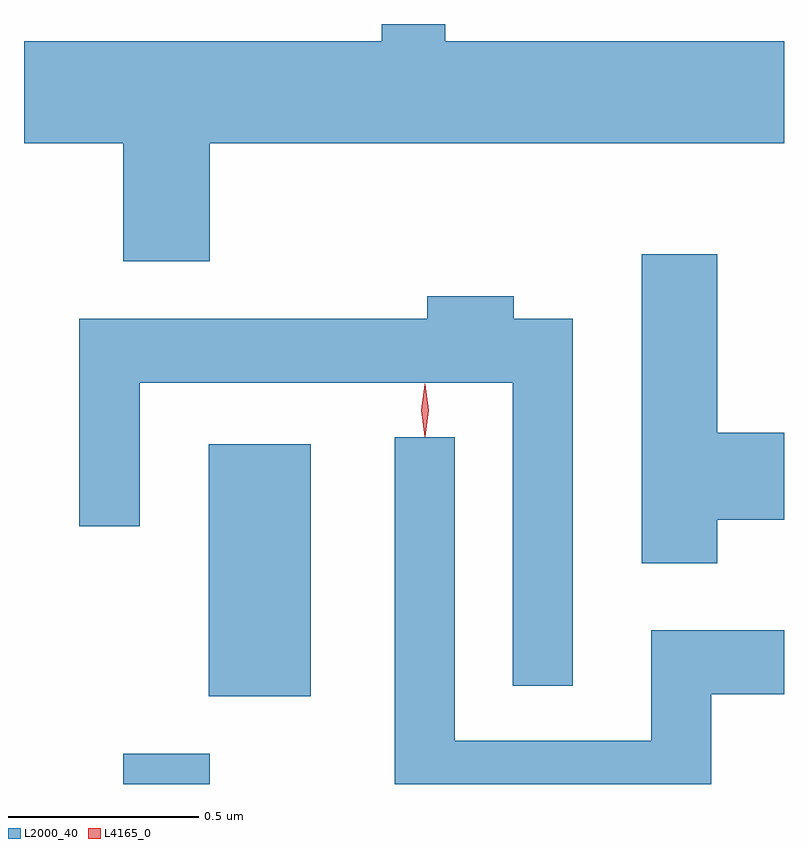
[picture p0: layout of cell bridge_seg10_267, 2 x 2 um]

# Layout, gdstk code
import gdstk
lib = gdstk.Library(unit=1e-6, precision=1e-09)
def R(c, l, rs):  # rectangles x0, y0, x1, y1
    for r in rs: c.add(gdstk.rectangle(r[:2], r[2:], *l))
def P(c, l, *ps):  # polygons
    for p in ps: c.add(gdstk.Polygon(p, *l))
L2000_40 = (2000, 40)
L4165_0 = (4165, 0)

bridge_seg10_267 = lib.new_cell('bridge_seg10_267')
R(bridge_seg10_267, L2000_40, [(1797.531,2096.69,1797.759,2096.769), (1797.756,2096.921,1798.024,2097.584)])
P(bridge_seg10_267, L2000_40, [(1797.759,2098.376),(1799.27,2098.376),(1799.27,2098.644),(1798.379,2098.644),(1798.379,2098.69),(1798.211,2098.69),(1798.211,2098.644),(1797.27,2098.644),(1797.27,2098.376),(1797.531,2098.376),(1797.531,2098.066),(1797.759,2098.066)],
  [(1799.094,2097.386),(1799.27,2097.386),(1799.27,2097.614),(1799.094,2097.614),(1799.094,2098.084),(1798.896,2098.084),(1798.896,2097.271),(1799.094,2097.271)],
  [(1798.714,2097.914),(1798.559,2097.914),(1798.559,2097.974),(1798.331,2097.974),(1798.331,2097.914),(1797.416,2097.914),(1797.416,2097.368),(1797.574,2097.368),(1797.574,2097.746),(1798.556,2097.746),(1798.556,2096.948),(1798.714,2096.948)],
  [(1799.079,2096.926),(1799.27,2096.926),(1799.27,2097.094),(1798.921,2097.094),(1798.921,2096.804),(1798.404,2096.804),(1798.404,2097.603),(1798.246,2097.603),(1798.246,2096.69),(1799.079,2096.69)])
P(bridge_seg10_267, L4165_0, [(1798.324,2097.604),(1798.315,2097.673),(1798.324,2097.742),(1798.325,2097.743),(1798.326,2097.742),(1798.335,2097.673),(1798.326,2097.604),(1798.325,2097.604)])

lib.write_gds('bridge_seg10_267.gds')
